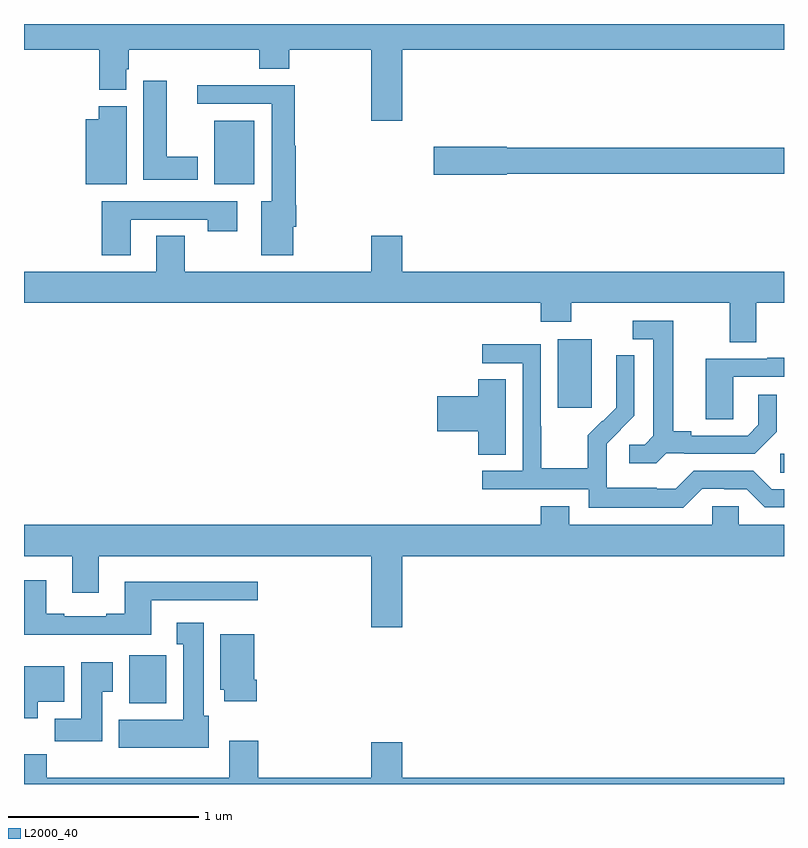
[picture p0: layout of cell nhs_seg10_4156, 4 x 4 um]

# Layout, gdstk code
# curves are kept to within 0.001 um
import gdstk
lib = gdstk.Library(unit=1e-6, precision=1e-09)
def R(c, l, rs):  # rectangles x0, y0, x1, y1
    for r in rs: c.add(gdstk.rectangle(r[:2], r[2:], *l))
def P(c, l, *ps):  # polygons
    for p in ps: c.add(gdstk.Polygon(p, *l))
L2000_40 = (2000, 40)

nhs_seg10_4156 = lib.new_cell('nhs_seg10_4156')
R(nhs_seg10_4156, L2000_40, [(343.553,1248.926,343.749,1249.177), (346.98,1250.137,347,1250.238), (345.809,1250.481,345.988,1250.842), (344,1251.656,344.212,1251.991)])
P(nhs_seg10_4156, L2000_40, [(344.992,1252.364),(347,1252.364),(347,1252.5),(343,1252.5),(343,1252.364),(343.397,1252.364),(343.397,1252.153),(343.537,1252.153),(343.537,1252.263),(343.55,1252.263),(343.55,1252.364),(344.237,1252.364),(344.237,1252.265),(344.397,1252.265),(344.397,1252.364),(344.828,1252.364),(344.828,1251.99),(344.992,1251.99)],
  [(343.915,1251.802),(343.75,1251.802),(343.75,1252.201),(343.628,1252.201),(343.628,1251.68),(343.915,1251.68)],
  [(344.416,1251.432),(344.434,1251.432),(344.434,1251.546),(344.429,1251.546),(344.429,1251.86),(344.424,1251.86),(344.424,1252.178),(343.911,1252.178),(343.911,1252.08),(344.303,1252.08),(344.303,1251.568),(344.249,1251.568),(344.249,1251.282),(344.416,1251.282)],
  [(343.54,1252.068),(343.394,1252.068),(343.394,1252),(343.325,1252),(343.325,1251.656),(343.54,1251.656)],
  [(345.54,1251.712),(347,1251.712),(347,1251.848),(345.54,1251.848),(345.54,1251.854),(345.156,1251.854),(345.156,1251.707),(345.54,1251.707)],
  [(343.561,1251.471),(343.966,1251.471),(343.966,1251.408),(344.122,1251.408),(344.122,1251.567),(343.409,1251.567),(343.409,1251.282),(343.561,1251.282)],
  [(346.855,1251.032),(347,1251.032),(347,1251.196),(344.992,1251.196),(344.992,1251.385),(344.828,1251.385),(344.828,1251.196),(343.845,1251.196),(343.845,1251.386),(343.697,1251.386),(343.697,1251.196),(343,1251.196),(343,1251.032),(345.719,1251.032),(345.719,1250.933),(345.879,1250.933),(345.879,1251.032),(346.715,1251.032),(346.715,1250.824),(346.855,1250.824)],
  [(346.38,1250.241),(346.474,1250.241),(346.474,1250.238),(346.846,1250.238),(346.962,1250.354),(346.962,1250.548),(346.865,1250.548),(346.865,1250.391),(346.808,1250.334),(346.513,1250.334),(346.513,1250.357),(346.417,1250.357),(346.417,1250.937),(346.203,1250.937),(346.203,1250.841),(346.313,1250.841),(346.313,1250.333),(346.266,1250.286),(346.185,1250.286),(346.185,1250.189),(346.328,1250.189)],
  [(346.569,1250.055),(346.685,1250.055),(346.685,1250.052),(346.803,1250.052),(346.899,1249.956),(347,1249.956),(347,1250.052),(346.935,1250.052),(346.839,1250.148),(346.524,1250.148),(346.431,1250.055),(346.331,1250.055),(346.331,1250.059),(346.068,1250.059),(346.068,1250.193),(346.066,1250.193),(346.066,1250.29),(346.212,1250.438),(346.212,1250.756),(346.116,1250.756),(346.116,1250.602),(346.118,1250.602),(346.118,1250.48),(346.047,1250.409),(346.044,1250.412),(345.967,1250.335),(345.967,1250.161),(345.723,1250.161),(345.723,1250.384),(345.72,1250.384),(345.72,1250.814),(345.411,1250.814),(345.411,1250.715),(345.624,1250.715),(345.624,1250.148),(345.411,1250.148),(345.411,1250.052),(345.972,1250.052),(345.972,1249.955),(346.469,1249.955)],
  [(346.734,1250.643),(347,1250.643),(347,1250.743),(346.913,1250.743),(346.913,1250.739),(346.589,1250.739),(346.589,1250.419),(346.734,1250.419)],
  [(345.535,1250.63),(345.392,1250.63),(345.392,1250.54),(345.174,1250.54),(345.174,1250.357),(345.392,1250.357),(345.392,1250.233),(345.535,1250.233)],
  [(344.992,1249.7),(347,1249.7),(347,1249.864),(346.761,1249.864),(346.761,1249.962),(346.623,1249.962),(346.623,1249.864),(345.871,1249.864),(345.871,1249.963),(345.719,1249.963),(345.719,1249.864),(343,1249.864),(343,1249.7),(343.253,1249.7),(343.253,1249.506),(343.393,1249.506),(343.393,1249.7),(344.828,1249.7),(344.828,1249.326),(344.992,1249.326)],
  [(343.669,1249.467),(344.23,1249.467),(344.23,1249.564),(343.529,1249.564),(343.529,1249.396),(343.433,1249.396),(343.433,1249.383),(343.213,1249.383),(343.213,1249.396),(343.117,1249.396),(343.117,1249.573),(343,1249.573),(343,1249.286),(343.669,1249.286)],
  [(343.972,1248.858),(343.945,1248.858),(343.945,1249.348),(343.805,1249.348),(343.805,1249.235),(343.838,1249.235),(343.838,1248.838),(343.499,1248.838),(343.499,1248.692),(343.972,1248.692)],
  [(344.225,1249.048),(344.212,1249.048),(344.212,1249.288),(344.033,1249.288),(344.033,1248.996),(344.054,1248.996),(344.054,1248.936),(344.225,1248.936)],
  [(343.411,1248.985),(343.468,1248.985),(343.468,1249.141),(343.301,1249.141),(343.301,1248.844),(343.162,1248.844),(343.162,1248.726),(343.411,1248.726)],
  [(343.072,1248.932),(343.213,1248.932),(343.213,1249.12),(343,1249.12),(343,1248.845),(343.072,1248.845)],
  [(347,1248.532),(344.992,1248.532),(344.992,1248.721),(344.828,1248.721),(344.828,1248.532),(344.234,1248.532),(344.234,1248.727),(344.081,1248.727),(344.081,1248.532),(343.121,1248.532),(343.121,1248.656),(343,1248.656),(343,1248.5),(347,1248.5)])

lib.write_gds('nhs_seg10_4156.gds')
